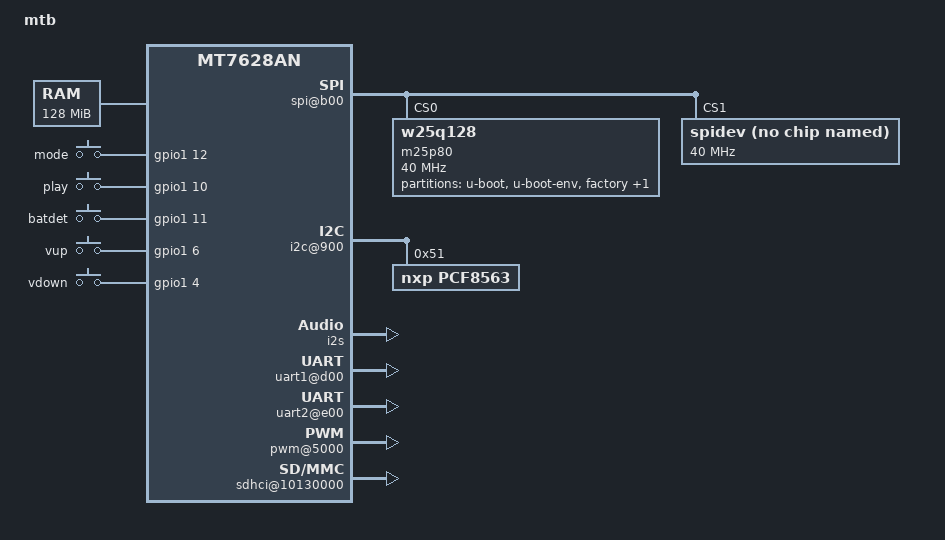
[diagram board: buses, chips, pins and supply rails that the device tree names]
/dts-v1/;

/include/ "mt7628an.dtsi"

/ {
	compatible = "mediatek,mtb", "mediatek,mt7628an-soc";
	model = "mtb";

	chosen {
		bootargs = "console=ttyS0,57600";
	};

	memory@0 {
		device_type = "memory";
		reg = <0x0 0x8000000>;
	};

	pinctrl {
		state_default: pinctrl0 {
			gpio {
				ralink,group = "gpio";
				ralink,function = "gpio";
			};
			perst {
				ralink,group = "perst";
				ralink,function = "gpio";
			};
			refclk {
				ralink,group = "refclk";
				ralink,function = "gpio";
			};
			i2s {
				ralink,group = "i2s";
				ralink,function = "i2s";
			};
			spis {
				ralink,group = "spis";
				ralink,function = "gpio";
			};
			wled_an {
				ralink,group = "wled_an";
				ralink,function = "gpio";
			};
			ephy_p1 {
				ralink,group = "ephy_p1";
				ralink,function = "gpio";
			};
			ephy_p2 {
				ralink,group = "ephy_p2";
				ralink,function = "gpio";
			};
			ephy_p3 {
				ralink,group = "ephy_p3";
				ralink,function = "gpio";
			};
			ephy_p4 {
				ralink,group = "ephy_p4";
				ralink,function = "gpio";
			};
			wdt {
				ralink,group = "wdt";
				ralink,function = "gpio";
			};
			i2c {
				ralink,group = "i2c";
				ralink,function = "i2c";
			};
			agpio {
				ralink,group = "agpio";
				ralink,function = "uart2";
			};
			led4 {
				ralink,group = "p4led_an";
				ralink,function = "gpio";  //gpio39
			};
			led3 {
				ralink,group = "p3led_an";
				ralink,function = "gpio";  //gpio40
			};
			led2 {
				ralink,group = "p2led_an";
				ralink,function = "gpio";  //gpio41
			};
		};
	};

	palmbus@10000000 {
		spi@b00 {
			status = "okay";

			pinctrl-names = "default";
			pinctrl-0 = <&spi_pins>, <&spi_cs1_pins>;

			m25p80@0 {
				#address-cells = <1>;
				#size-cells = <1>;
				compatible = "w25q128";
				reg = <0 0>;
				linux,modalias = "m25p80", "w25q128";
				spi-max-frequency = <40000000>;
				m25p,chunked-io = <31>;

				partition@0 {
					label = "u-boot";
					reg = <0x0 0x30000>;
					#read-only;
				};

				partition@30000 {
					label = "u-boot-env";
					reg = <0x30000 0x10000>;
				};

				factory: partition@40000 {
					label = "factory";
					reg = <0x40000 0x10000>;
					#read-only;
				};

				partition@50000 {
					label = "firmware";
					reg = <0x50000 0xfb0000>;
				};
			};

			spidev@1 {
				#address-cells = <1>;
				#size-cells = <1>;
				compatible = "spidev";
				reg = <1 0>;
				spi-max-frequency = <40000000>;
			};
		};

		i2c@900 {
			status = "okay";
			pcf8563: rtc@51 {
				status = "okay";
				compatible = "nxp,pcf8563";
				reg = <0x51>;
            };
		};

		i2s: i2s@a00 {
			status = "okay";
		};
		uart1@d00 {
			status = "okay";
		};
		uart2@e00 {
			status = "okay";
		};

		pwm@5000 {
			status = "okay";
		};
	};




	ethernet@10100000 {
		mtd-mac-address = <&factory 0x28>;
	};

	sdhci@10130000 {
		status = "okay";
		mediatek,cd-low;
//		mediatek,cd-poll;
	};

	gpio-keys-polled {
		compatible = "gpio-keys-polled";
		#address-cells = <1>;
		#size-cells = <0>;
		poll-interval = <20>;

		mode {
			label = "mode";
			gpios = <&gpio1 12 0>; //gpio44 wled_n
			linux,code = <0x100>;
		};
		play {
			label = "play";
			gpios = <&gpio1 10 0>; //gpio42
			linux,code = <0x101>;
		};
		batdet {
			label = "batdet";
			gpios = <&gpio1 11 0>; //gpio43 battery detect
			linux,code = <0x102>;
		};
		vup {
			label = "vup";
			gpios = <&gpio1 6 0>; //gpio38
			linux,code = <0x103>;
		};
		vdown {
			label = "vdown";
			gpios = <&gpio1 4 0>; //gpio36
			linux,code = <0x103>;
		};


	};



};
